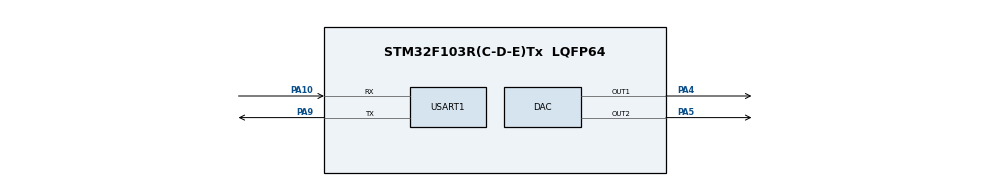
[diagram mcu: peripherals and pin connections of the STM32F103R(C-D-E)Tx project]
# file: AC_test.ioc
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Mcu.Family=STM32F1
Mcu.Name=STM32F103R(C-D-E)Tx
Mcu.Package=LQFP64
NVIC.PriorityGroup=NVIC_PRIORITYGROUP_4
NVIC.TIM2_IRQn=true\:0\:0\:false\:false\:true\:true\:true\:true
PA10.Mode=Asynchronous
PA10.Signal=USART1_RX
PA4.Signal=COMP_DAC1_group
PA5.Signal=COMP_DAC2_group
PA9.Mode=Asynchronous
PA9.Signal=USART1_TX
PD0-OSC_IN.Mode=HSE-External-Oscillator
PD0-OSC_IN.Signal=RCC_OSC_IN
PD1-OSC_OUT.Mode=HSE-External-Oscillator
PD1-OSC_OUT.Signal=RCC_OSC_OUT
ProjectManager.HeapSize=0x200
ProjectManager.StackSize=0x400
ProjectManager.TargetToolchain=MDK-ARM V5.32
RCC.APB1Freq_Value=8000000
RCC.APB2Freq_Value=8000000
SH.COMP_DAC1_group.0=DAC_OUT1,DAC_OUT1
SH.COMP_DAC2_group.0=DAC_OUT2,DAC_OUT2
USART1.VirtualMode=VM_ASYNC
VP_SYS_VS_ND.Mode=No_Debug
VP_TIM2_VS_ClockSourceINT.Mode=Internal
board=custom

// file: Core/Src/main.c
/* USER CODE BEGIN Header */
/**
  ******************************************************************************
  * @file           : main.c
  * @brief          : Main program body
  ******************************************************************************
  * @attention
  *
  * Copyright (c) 2025 STMicroelectronics.
  * All rights reserved.
  *
  * This software is licensed under terms that can be found in the LICENSE file
  * in the root directory of this software component.
  * If no LICENSE file comes with this software, it is provided AS-IS.
  *
  ******************************************************************************
  */
/* USER CODE END Header */
#include "main.h"
#include "dac.h"
#include "tim.h"
#include "usart.h"
#include "gpio.h"

/* USER CODE BEGIN Includes */
#include "AC.h"
/* USER CODE END Includes */

void SystemClock_Config(void);

int main(void)
{

  /* MCU Configuration--------------------------------------------------------*/

  /* Reset of all peripherals, Initializes the Flash interface and the Systick. */
  HAL_Init();

  /* Configure the system clock */
  SystemClock_Config();

  /* Initialize all configured peripherals */
  MX_GPIO_Init();
  MX_DAC_Init();
  MX_TIM2_Init();
  MX_USART1_UART_Init();
  /* USER CODE BEGIN 2 */

	//init
	float k=6;float Vcc=3.3;
	DC_value=0.2;
	AC_value=0.2;
	uint16_t freq=50;
	dac_forward_max=(((DC_value+AC_value*0.707)*k)+Vcc)/2/Vcc*4096;
	dac_forward_min=(((DC_value-AC_value*0.707)*k)+Vcc)/2/Vcc*4096;
	dac_reverse_max=(((-DC_value+AC_value*0.707)*k)+Vcc)/2/Vcc*4096;
	dac_reverse_min=(((-DC_value-AC_value*0.707)*k)+Vcc)/2/Vcc*4096;
	VPP=dac_forward_max-dac_forward_min;

	AC_type=sine;
	current_direction=forward;

	switch(AC_type)
	{
		case square:
			TIM2->PSC=80-1;
			TIM2->ARR=8000000/TIM2->PSC/freq/num-1;
			break;
		case sine:
			TIM2->PSC=80-1;
			TIM2->ARR=8000000/TIM2->PSC/freq/num-1;
			GenerateSineTable();
			break;
		case triangle:
			TIM2->PSC=80-1;
			TIM2->ARR=8000000/TIM2->PSC/freq/num-1;
			if(current_direction==forward)
			{
				dac_value=dac_forward_min;
			}
			else
			{
				dac_value=dac_reverse_min;
			}
			break;
	}

	HAL_TIM_Base_Start_IT(&htim2);
	HAL_DAC_Start(&hdac, DAC_CHANNEL_1);

  /* USER CODE END 2 */

  /* Infinite loop */
  while (1)
  {

  }
}

void SystemClock_Config(void)
{
  RCC_OscInitTypeDef RCC_OscInitStruct = {0};
  RCC_ClkInitTypeDef RCC_ClkInitStruct = {0};

  /** Initializes the RCC Oscillators according to the specified parameters
  * in the RCC_OscInitTypeDef structure.
  */
  RCC_OscInitStruct.OscillatorType = RCC_OSCILLATORTYPE_HSI;
  RCC_OscInitStruct.HSIState = RCC_HSI_ON;
  RCC_OscInitStruct.HSICalibrationValue = RCC_HSICALIBRATION_DEFAULT;
  RCC_OscInitStruct.PLL.PLLState = RCC_PLL_NONE;
  if (HAL_RCC_OscConfig(&RCC_OscInitStruct) != HAL_OK)
  {
    Error_Handler();
  }

  /** Initializes the CPU, AHB and APB buses clocks
  */
  RCC_ClkInitStruct.ClockType = RCC_CLOCKTYPE_HCLK|RCC_CLOCKTYPE_SYSCLK
                              |RCC_CLOCKTYPE_PCLK1|RCC_CLOCKTYPE_PCLK2;
  RCC_ClkInitStruct.SYSCLKSource = RCC_SYSCLKSOURCE_HSI;
  RCC_ClkInitStruct.AHBCLKDivider = RCC_SYSCLK_DIV1;
  RCC_ClkInitStruct.APB1CLKDivider = RCC_HCLK_DIV1;
  RCC_ClkInitStruct.APB2CLKDivider = RCC_HCLK_DIV1;

  if (HAL_RCC_ClockConfig(&RCC_ClkInitStruct, FLASH_LATENCY_0) != HAL_OK)
  {
    Error_Handler();
  }
}

void Error_Handler(void)
{
  __disable_irq();
  while (1)
  {
  }
}
